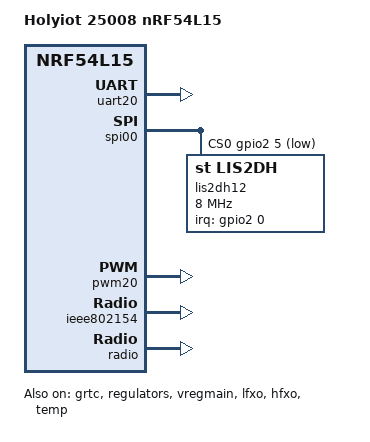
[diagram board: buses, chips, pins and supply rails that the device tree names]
/*
 * Copyright (c) 2025
 * SPDX-License-Identifier: Apache-2.0
 */

/dts-v1/;
#include <nordic/nrf54l15_cpuapp.dtsi>
#include "holyiot_25008_nrf54l15_common.dtsi"

/ {
	model = "Holyiot 25008 nRF54L15";
	compatible = "holyiot,holyiot-25008-nrf54l15-cpuapp";

	chosen {
		zephyr,code-partition = &slot0_partition;
		zephyr,sram = &cpuapp_sram;
		zephyr,flash = &cpuapp_rram;
		zephyr,flash-controller = &rram_controller;
		zephyr,console = &uart20;
		zephyr,shell-uart = &uart20;
		nordic,rpc-uart = &uart20;
		zephyr,ieee802154 = &ieee802154;
	};

	aliases {
		imu0 = &lis2dh12;
	};
};

&cpuapp_sram {
	status = "okay";
};

&grtc {
	owned-channels = <0 1 2 3 4 5 6 7 8 9 10 11>;
	/* Channels 7-11 reserved for Zero Latency IRQs, 3-4 for FLPR */
	child-owned-channels = <3 4 7 8 9 10 11>;
	status = "okay";
};

&clock {
	status = "okay";
};

&uart20 {
	status = "okay";
};

&spi00 {
	status = "okay";
	cs-gpios = <&gpio2 5 GPIO_ACTIVE_LOW>;

	lis2dh12: lis2dh12@0 {
		compatible = "st,lis2dh";
		reg = <0>;
		spi-max-frequency = <DT_FREQ_M(8)>;
		irq-gpios = <&gpio2 0 GPIO_ACTIVE_HIGH>;
		anym-on-int1;
		status = "okay";
	};
};

&pwm20 {
	status = "okay";
};

&gpio0 {
	status = "okay";
};

&gpio1 {
	status = "okay";
};

&gpio2 {
	status = "okay";
};

&gpiote20 {
	status = "okay";
};

&gpiote30 {
	status = "okay";
};

&regulators {
	status = "okay";
};

&vregmain {
	status = "okay";
	regulator-initial-mode = <NRF5X_REG_MODE_DCDC>;
};

&lfxo {
	load-capacitors = "internal";
	load-capacitance-femtofarad = <16000>;
	status = "okay";
};

&hfxo {
	load-capacitors = "internal";
	load-capacitance-femtofarad = <16000>;
	status = "okay";
};

&ieee802154 {
	status = "okay";
};

&temp {
	status = "okay";
};

&radio {
	status = "okay";
};

&cpuapp_rram {
	partitions {
		compatible = "fixed-partitions";
		#address-cells = <1>;
		#size-cells = <1>;

		boot_partition: partition@0 {
			label = "mcuboot";
			reg = <0x0 DT_SIZE_K(64)>;
		};

		slot0_partition: partition@10000 {
			label = "image-0";
			reg = <0x10000 DT_SIZE_K(664)>;
		};

		slot1_partition: partition@b6000 {
			label = "image-1";
			reg = <0xb6000 DT_SIZE_K(664)>;
		};

		storage_partition: partition@15c000 {
			label = "storage";
			reg = <0x15c000 DT_SIZE_K(36)>;
		};
	};
};
